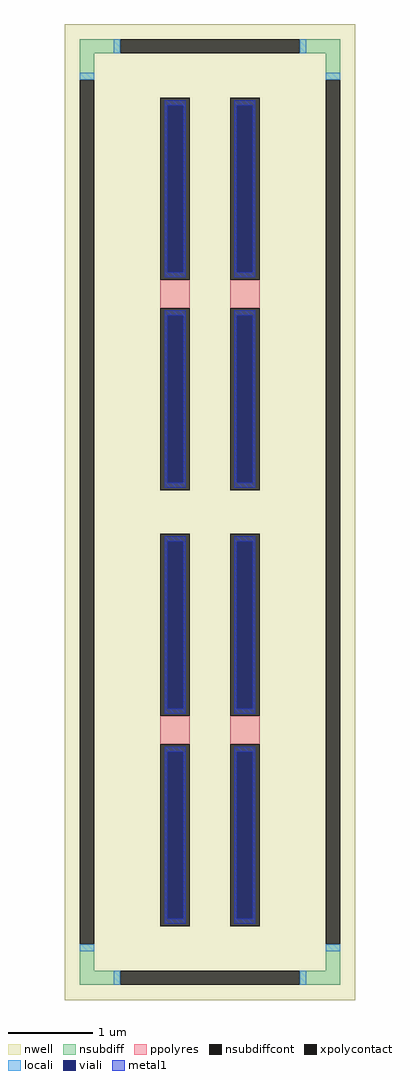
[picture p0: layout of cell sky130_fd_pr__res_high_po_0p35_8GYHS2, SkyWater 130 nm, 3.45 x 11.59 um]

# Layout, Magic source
magic
tech sky130A
magscale 1 2
<< nwell >>
rect -345 -1159 345 1159
<< nsubdiff >>
rect -309 1089 -213 1123
rect 213 1089 309 1123
rect -309 1027 -275 1089
rect 275 1027 309 1089
rect -309 -1089 -275 -1027
rect 275 -1089 309 -1027
rect -309 -1123 -213 -1089
rect 213 -1123 309 -1089
<< nsubdiffcont >>
rect -213 1089 213 1123
rect -309 -1027 -275 1027
rect 275 -1027 309 1027
rect -213 -1123 213 -1089
<< xpolycontact >>
rect -118 552 -48 984
rect -118 52 -48 484
rect 48 552 118 984
rect 48 52 118 484
rect -118 -484 -48 -52
rect -118 -984 -48 -552
rect 48 -484 118 -52
rect 48 -984 118 -552
<< ppolyres >>
rect -118 484 -48 552
rect 48 484 118 552
rect -118 -552 -48 -484
rect 48 -552 118 -484
<< locali >>
rect -229 1089 -213 1123
rect 213 1089 229 1123
rect -309 1027 -275 1043
rect 275 1027 309 1043
rect -309 -1043 -275 -1027
rect 275 -1043 309 -1027
rect -229 -1123 -213 -1089
rect 213 -1123 229 -1089
<< viali >>
rect -102 569 -64 966
rect 64 569 102 966
rect -102 70 -64 467
rect 64 70 102 467
rect -102 -467 -64 -70
rect 64 -467 102 -70
rect -102 -966 -64 -569
rect 64 -966 102 -569
<< metal1 >>
rect -108 966 -58 978
rect -108 569 -102 966
rect -64 569 -58 966
rect -108 557 -58 569
rect 58 966 108 978
rect 58 569 64 966
rect 102 569 108 966
rect 58 557 108 569
rect -108 467 -58 479
rect -108 70 -102 467
rect -64 70 -58 467
rect -108 58 -58 70
rect 58 467 108 479
rect 58 70 64 467
rect 102 70 108 467
rect 58 58 108 70
rect -108 -70 -58 -58
rect -108 -467 -102 -70
rect -64 -467 -58 -70
rect -108 -479 -58 -467
rect 58 -70 108 -58
rect 58 -467 64 -70
rect 102 -467 108 -70
rect 58 -479 108 -467
rect -108 -569 -58 -557
rect -108 -966 -102 -569
rect -64 -966 -58 -569
rect -108 -978 -58 -966
rect 58 -569 108 -557
rect 58 -966 64 -569
rect 102 -966 108 -569
rect 58 -978 108 -966
<< properties >>
string FIXED_BBOX -292 -1106 292 1106
string gencell sky130_fd_pr__res_high_po_0p35
string library sky130
string parameters w 0.350 l 0.50 m 2 nx 2 wmin 0.350 lmin 0.50 rho 319.8 val 1.57k dummy 0 dw 0.0 term 194.82 sterm 0.0 caplen 0 guard 1 glc 1 grc 1 gtc 1 gbc 1 compatible {sky130_fd_pr__res_high_po_0p35  sky130_fd_pr__res_high_po_0p69 sky130_fd_pr__res_high_po_1p41  sky130_fd_pr__res_high_po_2p85 sky130_fd_pr__res_high_po_5p73} snake 0 full_metal 0 wmax 0.350 vias 1 n_guard 1 hv_guard 0 viagb 0 viagt 0 viagl 0 viagr 0
<< end >>
